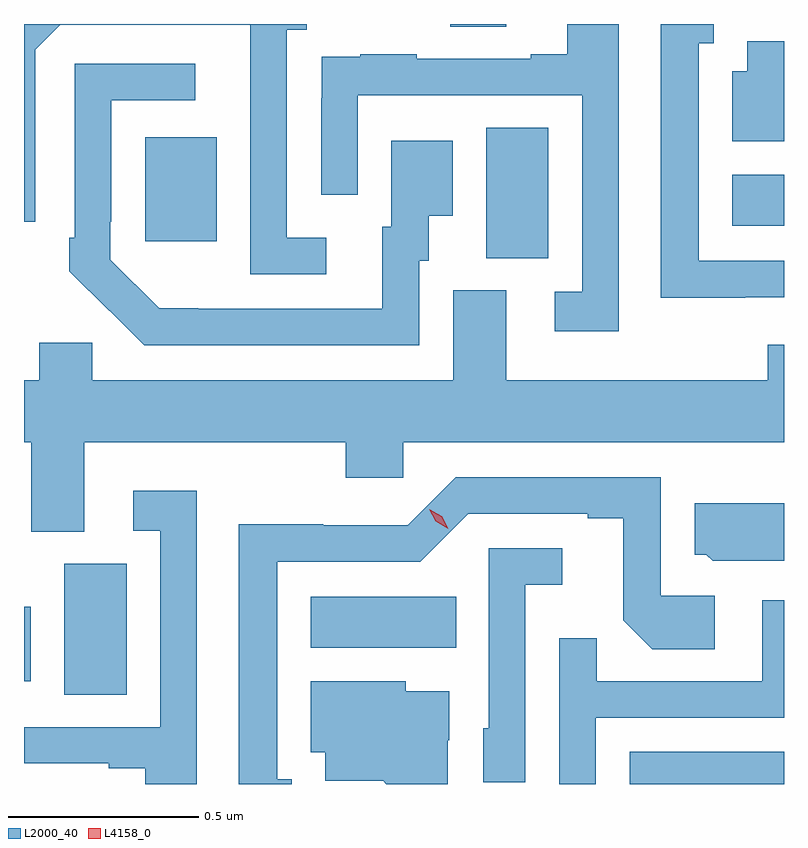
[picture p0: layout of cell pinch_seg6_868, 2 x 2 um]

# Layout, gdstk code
import gdstk
lib = gdstk.Library(unit=1e-6, precision=1e-09)
def R(c, l, rs):  # rectangles x0, y0, x1, y1
    for r in rs: c.add(gdstk.rectangle(r[:2], r[2:], *l))
def P(c, l, *ps):  # polygons
    for p in ps: c.add(gdstk.Polygon(p, *l))
L2000_40 = (2000, 40)
L4158_0 = (4158, 0)

pinch_seg6_868 = lib.new_cell('pinch_seg6_868')
R(pinch_seg6_868, L2000_40, [(126.668,970.413,127.074,970.498), (125.18,970.648,125.344,970.992), (125.074,970.683,125.092,970.879), (125.828,970.772,126.212,970.906), (126.29,971.797,126.454,972.14), (125.393,971.841,125.581,972.115), (126.938,971.882,127.074,972.016), (126.196,972.406,126.343,972.413)])
P(pinch_seg6_868, L2000_40, [(125.869,971.85),(125.766,971.85),(125.766,972.398),(125.818,972.398),(125.818,972.413),(125.074,972.413),(125.074,971.892),(125.103,971.892),(125.103,972.345),(125.169,972.411),(125.669,972.411),(125.669,972.211),(125.67,972.211),(125.67,971.754),(125.869,971.754)],
  [(126.972,971.694),(127.074,971.694),(127.074,971.79),(126.85,971.79),(126.85,972.363),(126.889,972.363),(126.889,972.413),(126.749,972.413),(126.749,971.693),(126.972,971.693)],
  [(126.639,972.413),(126.503,972.413),(126.503,972.334),(126.407,972.334),(126.407,972.321),(126.107,972.321),(126.107,972.334),(125.959,972.334),(125.959,972.327),(125.857,972.327),(125.857,972.218),(125.856,972.218),(125.856,971.964),(125.952,971.964),(125.952,972.225),(126.543,972.225),(126.543,971.709),(126.471,971.709),(126.471,971.604),(126.639,971.604)],
  [(127.074,972.367),(126.977,972.367),(126.977,972.289),(126.938,972.289),(126.938,972.104),(127.074,972.104)],
  [(126.114,971.79),(126.139,971.79),(126.139,971.909),(126.202,971.909),(126.202,972.106),(126.041,972.106),(126.041,971.88),(126.017,971.88),(126.017,971.664),(125.533,971.664),(125.533,971.665),(125.43,971.665),(125.301,971.793),(125.301,971.893),(125.304,971.893),(125.304,972.213),(125.524,972.213),(125.524,972.309),(125.208,972.309),(125.208,971.851),(125.193,971.851),(125.193,971.763),(125.298,971.658),(125.299,971.659),(125.39,971.568),(126.114,971.568)],
  [(127.074,971.569),(127.031,971.569),(127.031,971.476),(126.343,971.476),(126.343,971.712),(126.203,971.712),(126.203,971.476),(125.253,971.476),(125.253,971.574),(125.114,971.574),(125.114,971.476),(125.074,971.476),(125.074,971.312),(125.093,971.312),(125.093,971.077),(125.233,971.077),(125.233,971.312),(125.921,971.312),(125.921,971.219),(126.072,971.219),(126.072,971.312),(127.074,971.312)],
  [(125.779,970.425),(125.74,970.425),(125.74,970.998),(126.117,970.998),(126.243,971.124),(126.557,971.124),(126.557,971.112),(126.651,971.112),(126.651,970.844),(126.727,970.768),(126.892,970.768),(126.892,970.908),(126.75,970.908),(126.75,971.22),(126.21,971.22),(126.084,971.094),(125.862,971.094),(125.862,971.096),(125.639,971.096),(125.639,970.413),(125.779,970.413)],
  [(125.529,971.185),(125.361,971.185),(125.361,971.079),(125.433,971.079),(125.433,970.563),(125.074,970.563),(125.074,970.467),(125.297,970.467),(125.297,970.455),(125.393,970.455),(125.393,970.413),(125.529,970.413)],
  [(127.02,971.001),(127.074,971.001),(127.074,971.152),(126.839,971.152),(126.839,971.016),(126.87,971.016),(126.886,971),(127.02,971)],
  [(126.393,970.937),(126.49,970.937),(126.49,971.034),(126.297,971.034),(126.297,970.56),(126.282,970.56),(126.282,970.417),(126.393,970.417)],
  [(126.579,970.587),(127.074,970.587),(127.074,970.897),(127.017,970.897),(127.017,970.683),(126.581,970.683),(126.581,970.796),(126.483,970.796),(126.483,970.413),(126.579,970.413)],
  [(126.189,970.528),(126.193,970.528),(126.193,970.657),(126.078,970.657),(126.078,970.684),(125.828,970.684),(125.828,970.497),(125.867,970.497),(125.867,970.421),(126.019,970.421),(126.027,970.413),(126.189,970.413)])
P(pinch_seg6_868, L4158_0, [(126.19,971.085),(126.158,971.104),(126.141,971.136),(126.141,971.136),(126.141,971.136),(126.173,971.117),(126.19,971.085),(126.19,971.085)])

lib.write_gds('pinch_seg6_868.gds')
